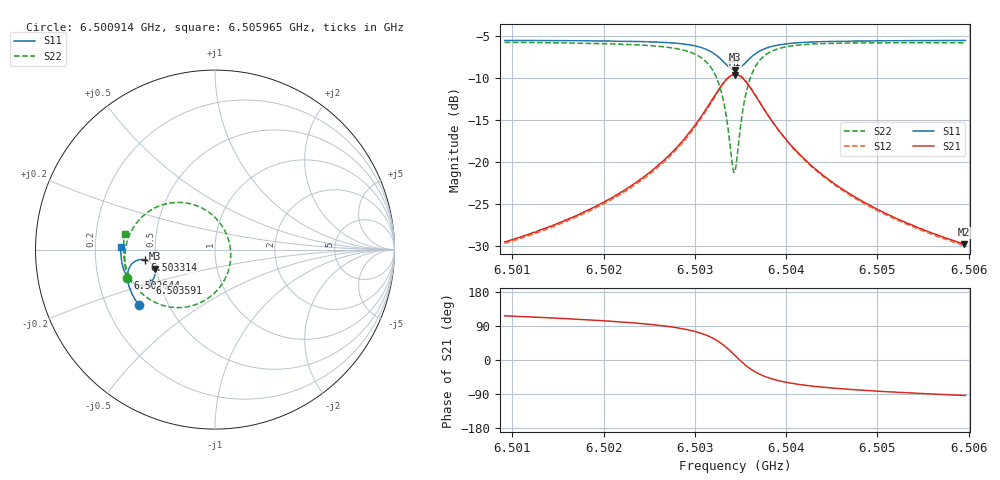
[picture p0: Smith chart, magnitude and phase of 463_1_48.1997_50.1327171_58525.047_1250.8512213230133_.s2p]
#  HZ  S  RI  R  50.00
! Rohde & Schwarz Vector Network Analyzer
! Rohde-Schwarz,ZNB20-2Port,1311601062101988,3.16
! Created: UTC 3/20/2024, 11:56:49 AM
! freq[Hz]  re:S11  im:S11  re:S21  im:S21  re:S12  im:S12  re:S22  im:S22
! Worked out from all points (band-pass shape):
!   401 points, 6.500914 GHz to 6.505965 GHz, reference 50 ohm
!   highest |S21| = -9.63 dB at 6.50344 GHz (marker M1); lowest = -29.8 dB at 6.505953 GHz (marker M2)
!   |S21| within 3 dB of the highest: 6.503188 GHz to 6.503693 GHz (504.8 kHz wide, 0.00776 % of centre)
!   lowest |S11| = -9.0 dB at 6.50344 GHz (marker M3), VSWR 2.09, Z = 24.3 - j5.88 ohm
!   |S11| at or under -10 dB: nowhere
!   |S22| runs from -21.3 to -5.8 dB; largest |S21 - S12| = 0.012
!   S11 on the Smith chart (normalised r, x): 6.500914 GHz: 0.34, -0.29; 6.502644 GHz: 0.33, -0.14; 6.503314 GHz: 0.44, -0.06; 6.503591 GHz: 0.44, -0.20; 6.505965 GHz: 0.31, +0.01
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6.5009144e9  -0.4253 -0.3102  -0.0149 0.03  -0.0131 0.0299  -0.4883 -0.1584
6.5017604e9  -0.4618 -0.2479  -0.0143 0.0475  -0.0118 0.0471  -0.5022 -0.069
6.5022402e9  -0.4786 -0.2053  -0.0113 0.0675  -0.0081 0.0665  -0.4993 -0.00101
6.5026064e9  -0.4873 -0.165  -0.00256 0.0962  0.00129 0.0939  -0.4804 0.0719
6.5026443e9  -0.4876 -0.1601  -0.000723 0.1003  0.00317 0.0978  -0.4766 0.0814
6.5029221e9  -0.4837 -0.1171  0.0258 0.1427  0.0297 0.1383  -0.4217 0.167
6.5031115e9  -0.4624 -0.079  0.0796 0.1848  0.0825 0.1786  -0.3186 0.2398
6.5032251e9  -0.4299 -0.0584  0.1484 0.2027  0.1498 0.1962  -0.1946 0.2627
6.5033135e9  -0.3895 -0.0565  0.2281 0.1868  0.2288 0.1814  -0.0572 0.223
6.5034145e9  -0.3432 -0.0909  0.3128 0.0999  0.3155 0.0944  0.0759 0.0532
6.5034398e9  -0.3367 -0.1057  0.323 0.0676  0.3265 0.0612  0.0871 -0.00706
6.503465e9  -0.3337 -0.1213  0.3268 0.0337  0.3304 0.0262  0.0855 -0.0688
6.5035282e9  -0.3408 -0.1589  0.3089 -0.0446  0.3109 -0.0552  0.0298 -0.205
6.5035913e9  -0.3622 -0.185  0.2658 -0.0992  0.2645 -0.1109  -0.067 -0.2886
6.5036923e9  -0.402 -0.2002  0.1906 -0.1355  0.185 -0.1454  -0.2178 -0.3229
6.5038565e9  -0.4484 -0.1906  0.1086 -0.1324  0.1014 -0.1376  -0.3656 -0.2763
6.5040333e9  -0.4757 -0.1693  0.064 -0.1122  0.0575 -0.1146  -0.4379 -0.2112
6.5042858e9  -0.4964 -0.1393  0.034 -0.0878  0.029 -0.0884  -0.4813 -0.139
6.504652e9  -0.5115 -0.1009  0.0153 -0.065  0.0118 -0.0647  -0.5035 -0.066
6.5051318e9  -0.5212 -0.0565  0.00493 -0.048  0.0026 -0.0473  -0.51 0.00159
6.5059526e9  -0.5259 0.013  -0.00197 -0.0323  -0.00336 -0.0316  -0.5024 0.0884
6.5059652e9  -0.526 0.0141  -0.00208 -0.0323  -0.00345 -0.0313  -0.5023 0.0896
